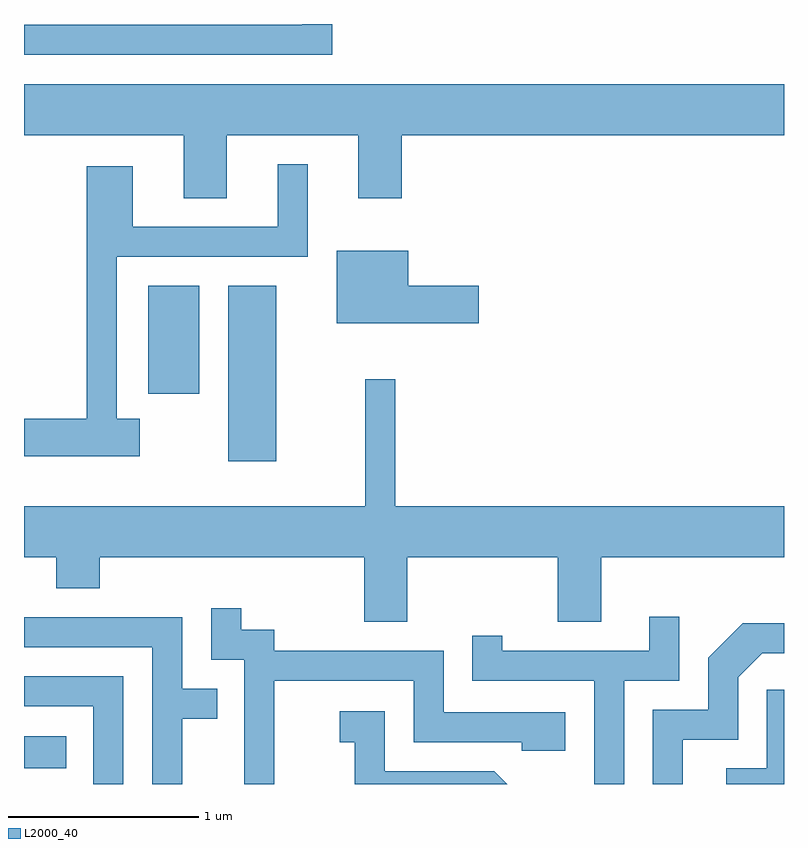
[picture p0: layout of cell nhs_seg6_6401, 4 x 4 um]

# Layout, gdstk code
import gdstk
lib = gdstk.Library(unit=1e-6, precision=1e-09)
def R(c, l, rs):  # rectangles x0, y0, x1, y1
    for r in rs: c.add(gdstk.rectangle(r[:2], r[2:], *l))
def P(c, l, *ps):  # polygons
    for p in ps: c.add(gdstk.Polygon(p, *l))
L2000_40 = (2000, 40)

nhs_seg6_6401 = lib.new_cell('nhs_seg6_6401')
R(nhs_seg6_6401, L2000_40, [(379.611,1562.246,379.833,1562.414), (380.686,1563.861,380.939,1564.784), (380.266,1564.216,380.534,1564.784)])
P(nhs_seg6_6401, L2000_40, [(381.234,1566.162),(381.076,1566.162),(381.076,1566.159),(379.611,1566.159),(379.611,1566.001),(381.234,1566.001)],
  [(380.679,1565.576),(381.371,1565.576),(381.371,1565.246),(381.599,1565.246),(381.599,1565.576),(383.611,1565.576),(383.611,1565.844),(379.611,1565.844),(379.611,1565.576),(380.451,1565.576),(380.451,1565.246),(380.679,1565.246)],
  [(380.219,1564.084),(380.099,1564.084),(380.099,1564.936),(381.104,1564.936),(381.104,1565.423),(380.946,1565.423),(380.946,1565.094),(380.184,1565.094),(380.184,1565.414),(379.941,1565.414),(379.941,1564.084),(379.611,1564.084),(379.611,1563.886),(380.219,1563.886)],
  [(382.004,1564.784),(381.634,1564.784),(381.634,1564.969),(381.256,1564.969),(381.256,1564.586),(382.004,1564.586)],
  [(381.629,1563.356),(382.421,1563.356),(382.421,1563.016),(382.649,1563.016),(382.649,1563.356),(383.611,1563.356),(383.611,1563.624),(381.564,1563.624),(381.564,1564.293),(381.406,1564.293),(381.406,1563.624),(379.611,1563.624),(379.611,1563.356),(379.781,1563.356),(379.781,1563.191),(380.009,1563.191),(380.009,1563.356),(381.401,1563.356),(381.401,1563.016),(381.629,1563.016)],
  [(380.929,1562.706),(381.661,1562.706),(381.661,1562.381),(382.231,1562.381),(382.231,1562.336),(382.459,1562.336),(382.459,1562.539),(381.819,1562.539),(381.819,1562.864),(380.929,1562.864),(380.929,1562.974),(380.754,1562.974),(380.754,1563.088),(380.596,1563.088),(380.596,1562.816),(380.771,1562.816),(380.771,1562.162),(380.929,1562.162)],
  [(382.769,1562.706),(383.059,1562.706),(383.059,1563.043),(382.901,1563.043),(382.901,1562.864),(382.129,1562.864),(382.129,1562.943),(381.971,1562.943),(381.971,1562.706),(382.611,1562.706),(382.611,1562.162),(382.769,1562.162)],
  [(380.444,1562.506),(380.628,1562.506),(380.628,1562.664),(380.444,1562.664),(380.444,1563.039),(379.611,1563.039),(379.611,1562.881),(380.286,1562.881),(380.286,1562.162),(380.444,1562.162)],
  [(383.079,1562.396),(383.369,1562.396),(383.369,1562.724),(383.497,1562.851),(383.611,1562.851),(383.611,1563.009),(383.394,1563.009),(383.211,1562.827),(383.211,1562.554),(382.921,1562.554),(382.921,1562.162),(383.079,1562.162)],
  [(380.134,1562.729),(379.611,1562.729),(379.611,1562.571),(379.976,1562.571),(379.976,1562.162),(380.134,1562.162)],
  [(383.611,1562.659),(383.521,1562.659),(383.521,1562.244),(383.306,1562.244),(383.306,1562.162),(383.611,1562.162)],
  [(382.087,1562.229),(381.509,1562.229),(381.509,1562.544),(381.273,1562.544),(381.273,1562.381),(381.351,1562.381),(381.351,1562.162),(382.154,1562.162)])

lib.write_gds('nhs_seg6_6401.gds')
